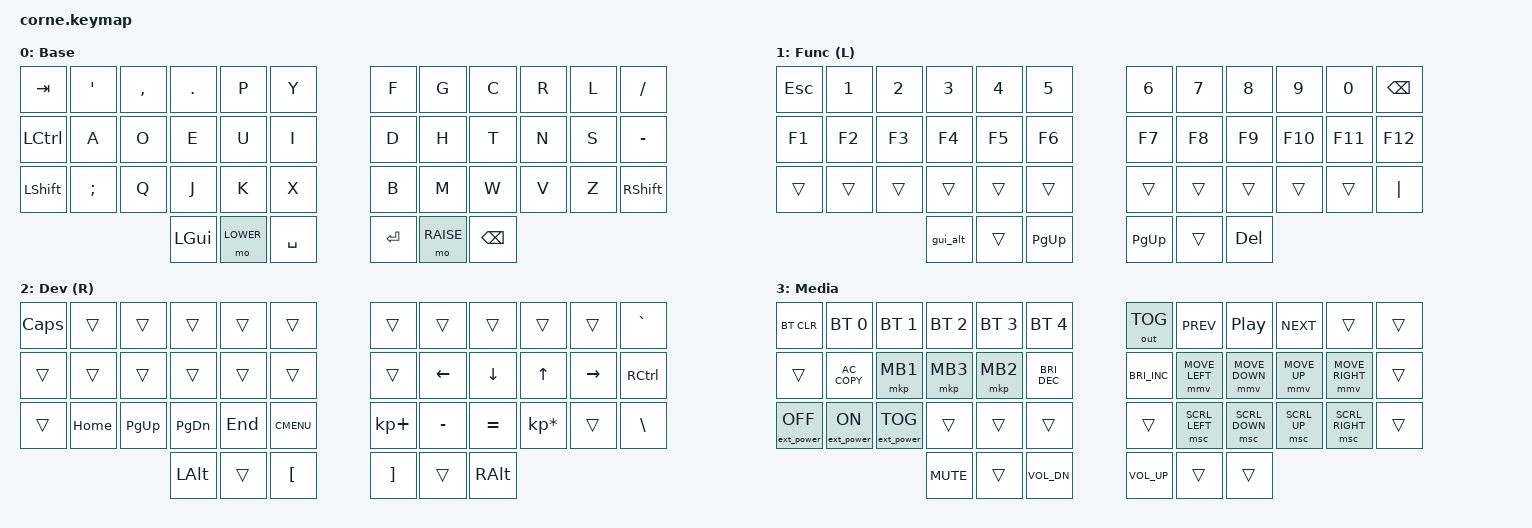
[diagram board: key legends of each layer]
/*
 * Copyright (c) 2020 The ZMK Contributors
 *
 * SPDX-License-Identifier: MIT
 */

#include <behaviors.dtsi>
#include <dt-bindings/zmk/keys.h>
#include <dt-bindings/zmk/bt.h>
#include <dt-bindings/zmk/outputs.h>
#include <dt-bindings/zmk/ext_power.h>
#include <dt-bindings/zmk/rgb.h>
#include <dt-bindings/zmk/backlight.h>

#define DEFAULT 0
#define LOWER   1
#define RAISE   2
#define MEDIA  3

#define ZMK_POINTING_DEFAULT_MOVE_VAL 1500  // default: 600
#define ZMK_POINTING_DEFAULT_SCRL_VAL 20    // default: 10

#include <dt-bindings/zmk/pointing.h>

/ {
	conditional_layers {
        compatible = "zmk,conditional-layers";
        media_layer {
            if-layers = <LOWER RAISE>;
            then-layer = <MEDIA>;
        };
    };

	behaviors {
		gui_alt: gui_alt {
			compatible = "zmk,behavior-macro";
			#binding-cells = <0>;
			bindings = <&kp LGUI &kp LALT>;
		};
	};


	keymap {
		compatible = "zmk,keymap";

		default_layer {
// -----------------------------------------------------------------------------------------
// |  TAB  |  '  |  ,  |  .  |  P  |  Y  |    |  F  |  G   |  C   |  R  |  L  |   /   |
// | LCTRL |  A  |  O  |  E  |  U  |  I  |    |  D  |  H   |  T   |  N  |  S  |   -   |
// | SHIFT |  ;  |  Q  |  J  |  K  |  X  |    |  B  |  M   |  W   |  V  |  Z  | SHIFT |
//                    | GUI | LWR | SPC |   | ENT | RSE  | BKSP |
			label = "Base";
			bindings = <
&kp TAB   &kp SQT   &kp COMMA  &kp DOT  &kp P  &kp Y 		 &kp F  &kp G     &kp C  &kp R  &kp L  &kp FSLH
&kp LCTRL &kp A     &kp O      &kp E    &kp U  &kp I 		 &kp D  &kp H     &kp T  &kp N  &kp S  &kp MINUS
&kp LSHFT &kp SEMI  &kp Q      &kp J    &kp K  &kp X 		 &kp B  &kp M &kp W  &kp V  &kp Z  &kp RSHFT
				&kp LGUI &mo LOWER &kp SPACE        &kp RET &mo RAISE &kp BKSP
			>;
		};

		lower_layer {
// -----------------------------------------------------------------------------------------
// |  ESC |  1  |  2  |  3  |  4  |  5  |       |  6  |  7  |  8  |  9  |  0  | BKSP |
// |  F1  |  F2 |  F3 |  F4 |  F5 |  F6 |       |  F7 |  F8 |  F9 | F10 | F11 | F12  |
// |      |     |     |     |     |     |       |     |     |     |     |     |  "|" |
//                    | GUI |     | PG_UP |       | PG_UP |     | DEL |
			label = "Func (L)";
			bindings = <
&kp ESC &kp N1 &kp N2 &kp N3 &kp N4 &kp N5              &kp N6 &kp N7 &kp N8 &kp N9 &kp N0 &kp BSPC
&kp F1 &kp F2 &kp F3 &kp F4 &kp F5 &kp F6               &kp F7 &kp F8 &kp F9 &kp F10 &kp F11 &kp F12
&trans &trans &trans &trans &trans &trans            &trans &trans &trans &trans &trans &kp PIPE
					&gui_alt &trans &kp PG_UP      &kp PG_UP &trans &kp DEL
			>;
		};

		raise_layer {
// -----------------------------------------------------------------------------------------
// |CAPS |      |      |      |     |       |          |     |      |      |       |       |   `   |
// |     |      |      |      |     |       |          |     |   <- |   ^  |  v    |  ->   |R CTRL |
// |     | HOME |PG UP |PG DWN| END |SUBMENU|          |  +  |   -  |   =  |   *   |       |   \   |
//                      | LALT |     |   [   |       |  ]  |     | RALT |
			label = "Dev (R)";
			bindings = <
&kp CAPS &trans &trans &trans &trans &trans				&trans &trans &trans &trans &trans &kp GRAVE
&trans &trans &trans &trans &trans &trans			&trans &kp LEFT &kp DOWN &kp UP &kp RIGHT &kp RCTRL
&trans &kp HOME &kp PG_UP &kp PG_DN &kp END &kp K_CMENU			&kp KP_PLUS &kp MINUS &kp EQUAL &kp KP_MULTIPLY &trans &kp BSLH
					&kp LALT &trans &kp LBKT		&kp RBKT &trans &kp RALT
			>;
		};

		media_layer {
// -----------------------------------------------------------------------------------------
// | BTCLR | BT1  | BT2  | BT3 | BT4 | BT5 |          |mouse 4|left click|middle|right|mouse 5|       |
// |OUT_TOG|PREV |PLAYPAU|NEXT |     |     |          |     |       |      |       |       |       |
// |       |     |       |     |     |	   |          |     |       |      |       |       |       |
//                      |mute |     | VOL V |        | VOL ^|      |      |
			label = "Media";
			bindings = <
&bt BT_CLR &bt BT_SEL 0 &bt BT_SEL 1 &bt BT_SEL 2 &bt BT_SEL 3 &bt BT_SEL 4			&out OUT_TOG &kp C_PREV &kp C_PP &kp C_NEXT &trans &trans
&trans &kp C_AC_COPY &mkp MB1 &mkp MB3 &mkp MB2 &kp C_BRIGHTNESS_DEC			&kp C_BRIGHTNESS_INC &mmv MOVE_LEFT &mmv MOVE_DOWN &mmv MOVE_UP &mmv MOVE_RIGHT &trans
&ext_power EP_OFF &ext_power EP_ON &ext_power EP_TOG &trans &trans &trans			&trans &msc SCRL_LEFT &msc SCRL_DOWN &msc SCRL_UP &msc SCRL_RIGHT &trans
					&kp K_MUTE &trans &kp C_VOL_DN   		&kp C_VOL_UP &trans &trans
			>;
		};
	};
};
